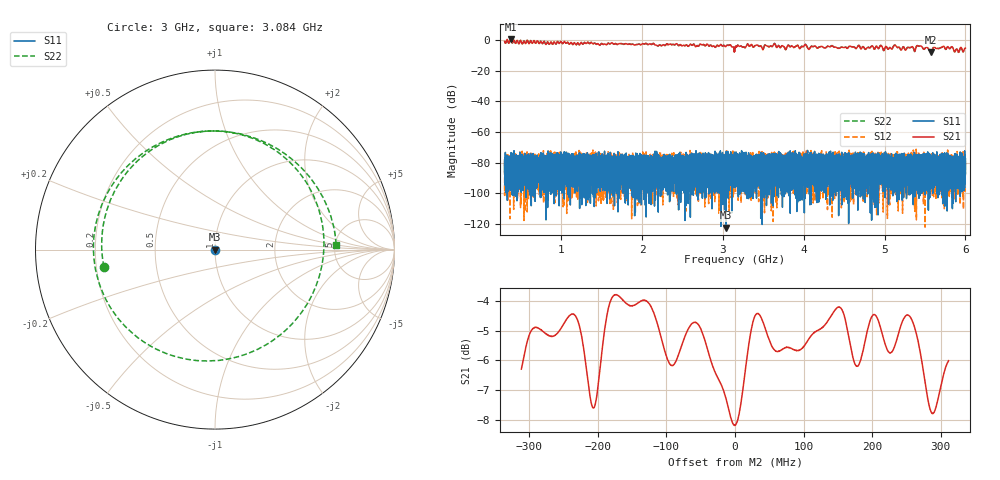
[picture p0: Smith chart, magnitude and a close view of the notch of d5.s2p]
!Agilent Technologies,N5230C,SG49000117,A.08.50.07
!Agilent N5230C: A.08.50.07
!Date: Monday, March 18, 2024 19:14:35
!Correction: S11(Off)
!S21(Off)
!S12(Off)
!S22(Off)
!S2P File: Measurements: S11, S21, S12, S22:
# Hz S  RI  R 50
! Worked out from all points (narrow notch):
!   20001 points, 300 MHz to 6 GHz, reference 50 ohm
!   highest |S21| = 0.43 dB at 373.2 MHz (marker M1); lowest = -8.2 dB at 5.579 GHz (marker M2)
!   notch at M2: 4.4 dB deep, 51.9 MHz wide at half that depth
!   lowest |S11| = -122.3 dB at 3.041 GHz (marker M3), VSWR 1.00, Z = 50 - j1.75e-05 ohm
!   |S11| at or under -10 dB: start of sweep to end of sweep
!   |S22| runs from -8.2 to 0.5 dB; largest |S21 - S12| = 1.1
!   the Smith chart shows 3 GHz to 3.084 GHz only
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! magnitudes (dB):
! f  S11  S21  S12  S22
! 300 MHz  -86.0  -1.1  -79.0  -1.0
! 373.2 MHz  -82.1  0.4  -87.8  0.5
! 1.25 GHz  -83.3  -1.8  -87.3  -1.8
! 2.2 GHz  -82.4  -4.0  -85.1  -4.0
! 3.041 GHz  -122.3  -4.2  -81.3  -4.2
! 3.15 GHz  -96.4  -5.2  -84.0  -5.2
! 3.327 GHz  -77.4  -4.2  -84.4  -4.2
! 3.48 GHz  -78.6  -4.8  -82.8  -4.8
! 3.629 GHz  -75.3  -2.9  -87.8  -2.8
! 3.77 GHz  -82.8  -5.9  -77.6  -5.8
! 4.1 GHz  -79.1  -4.2  -80.7  -4.1
! 5.05 GHz  -79.7  -5.9  -81.0  -5.9
! 5.131 GHz  -78.3  -3.5  -80.7  -3.5
! 5.191 GHz  -88.6  -5.5  -95.2  -5.5
! 5.365 GHz  -85.0  -6.8  -79.9  -6.8
! 5.427 GHz  -79.8  -4.2  -87.0  -4.2
! 5.579 GHz  -76.1  -8.2  -85.0  -8.2
! 5.622 GHz  -77.4  -4.8  -80.4  -4.9
! 5.716 GHz  -92.8  -4.6  -78.6  -4.7
! 5.82 GHz  -77.3  -4.9  -80.0  -4.9
! 5.892 GHz  -79.3  -6.0  -80.9  -6.0
! 6 GHz  -81.1  -5.4  -82.3  -5.4
